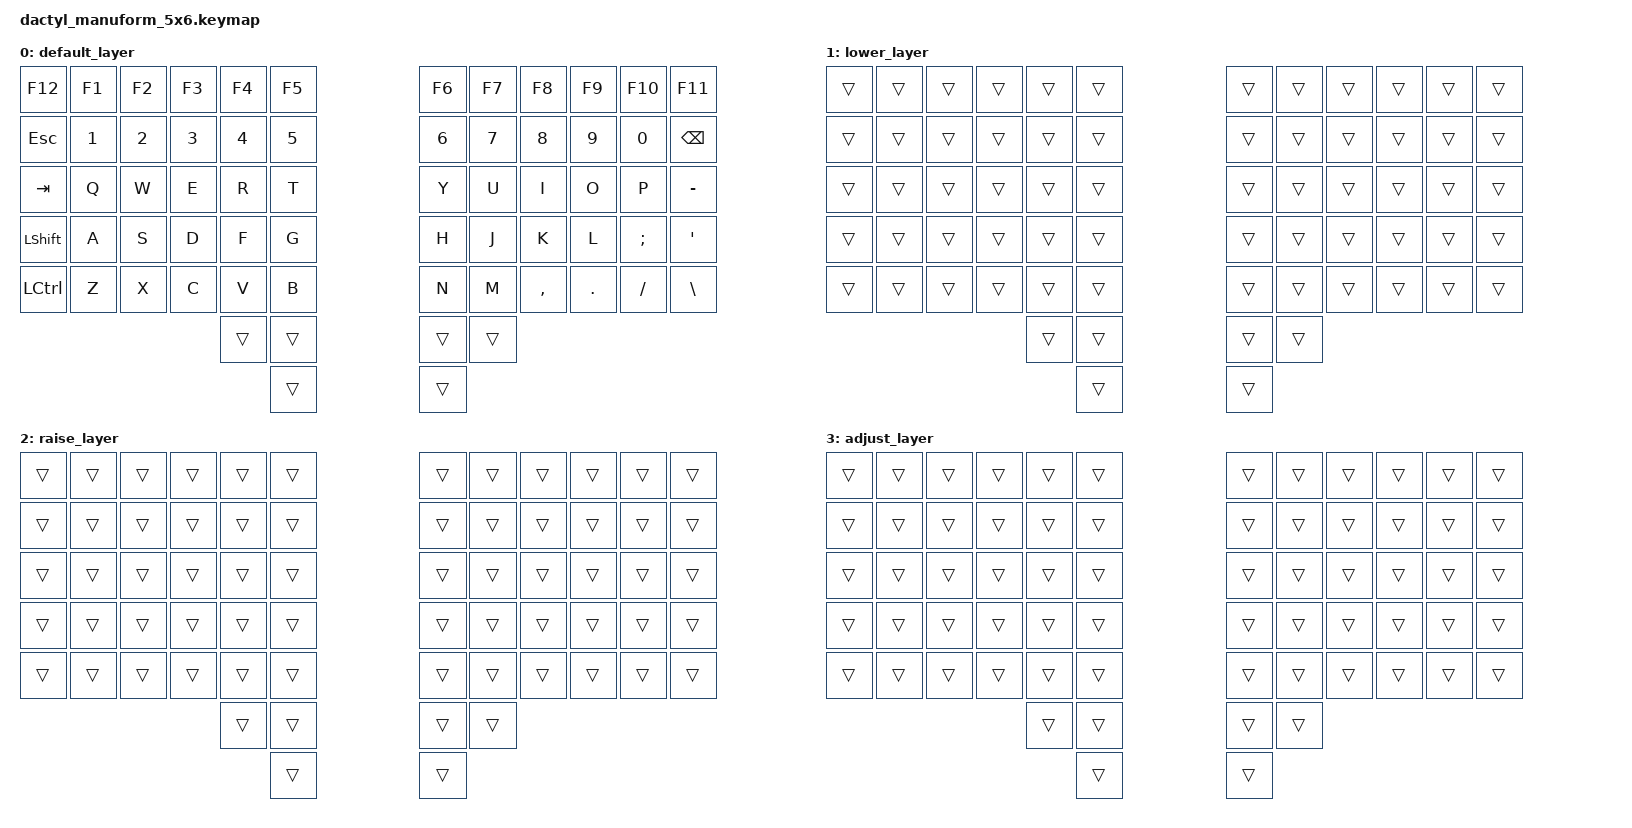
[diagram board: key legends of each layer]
#include <behaviors.dtsi>
#include <dt-bindings/zmk/keys.h>
#include <dt-bindings/zmk/bt.h>
#include <dt-bindings/zmk/rgb.h>
#include <dt-bindings/zmk/ext_power.h>
#include <dt-bindings/zmk/outputs.h>

#define DEFAULT 0
#define LWR 1
#define RSE 2
#define ADJ 3

/ {
    keymap {
        compatible = "zmk,keymap";

        default_layer {
            bindings = <
                &kp F12   &kp F1 &kp F2   &kp F3 &kp F4  &kp F5                              &kp F6  &kp F7 &kp F8    &kp F9  &kp F10  &kp F11
                &kp ESC   &kp N1 &kp N2   &kp N3 &kp N4  &kp N5                              &kp N6  &kp N7 &kp N8    &kp N9  &kp N0   &kp BSPC
                &kp TAB   &kp Q  &kp W    &kp E  &kp R   &kp T                               &kp Y   &kp U  &kp I     &kp O   &kp P    &kp MINUS
                &kp LSHFT &kp A  &kp S    &kp D  &kp F   &kp G                               &kp H   &kp J  &kp K     &kp L   &kp SEMI &kp SQT
                &kp LCTRL &kp Z  &kp X    &kp C  &kp V   &kp B                               &kp N   &kp M  &kp COMMA &kp DOT &kp FSLH &kp BSLH
                                                 &trans  &trans                              &trans  &trans
                                                         &trans                              &trans
            >;
        };

        lower_layer {
            bindings = <
                &trans   &trans    &trans    &trans    &trans    &trans                &trans    &trans   &trans   &trans    &trans    &trans
                &trans   &trans    &trans    &trans    &trans    &trans                &trans    &trans   &trans   &trans    &trans    &trans
                &trans   &trans    &trans    &trans    &trans    &trans                &trans    &trans   &trans   &trans    &trans    &trans
                &trans   &trans    &trans    &trans    &trans    &trans                &trans    &trans   &trans   &trans    &trans    &trans
                &trans   &trans    &trans    &trans    &trans    &trans                &trans    &trans   &trans   &trans    &trans    &trans
                                                       &trans    &trans                &trans    &trans
                                                                 &trans                &trans    
            >;
        };

        raise_layer {
            bindings = <
                &trans   &trans    &trans    &trans    &trans    &trans                &trans    &trans   &trans   &trans    &trans    &trans
                &trans   &trans    &trans    &trans    &trans    &trans                &trans    &trans   &trans   &trans    &trans    &trans
                &trans   &trans    &trans    &trans    &trans    &trans                &trans    &trans   &trans   &trans    &trans    &trans
                &trans   &trans    &trans    &trans    &trans    &trans                &trans    &trans   &trans   &trans    &trans    &trans
                &trans   &trans    &trans    &trans    &trans    &trans                &trans    &trans   &trans   &trans    &trans    &trans
                                                       &trans    &trans                &trans    &trans
                                                                 &trans                &trans    
            >;
        };

        adjust_layer {
            bindings = <
                &trans   &trans    &trans    &trans    &trans    &trans                &trans    &trans   &trans   &trans    &trans    &trans
                &trans   &trans    &trans    &trans    &trans    &trans                &trans    &trans   &trans   &trans    &trans    &trans
                &trans   &trans    &trans    &trans    &trans    &trans                &trans    &trans   &trans   &trans    &trans    &trans
                &trans   &trans    &trans    &trans    &trans    &trans                &trans    &trans   &trans   &trans    &trans    &trans
                &trans   &trans    &trans    &trans    &trans    &trans                &trans    &trans   &trans   &trans    &trans    &trans
                                                       &trans    &trans                &trans    &trans
                                                                 &trans                &trans    
            >;
        };
    };
};
